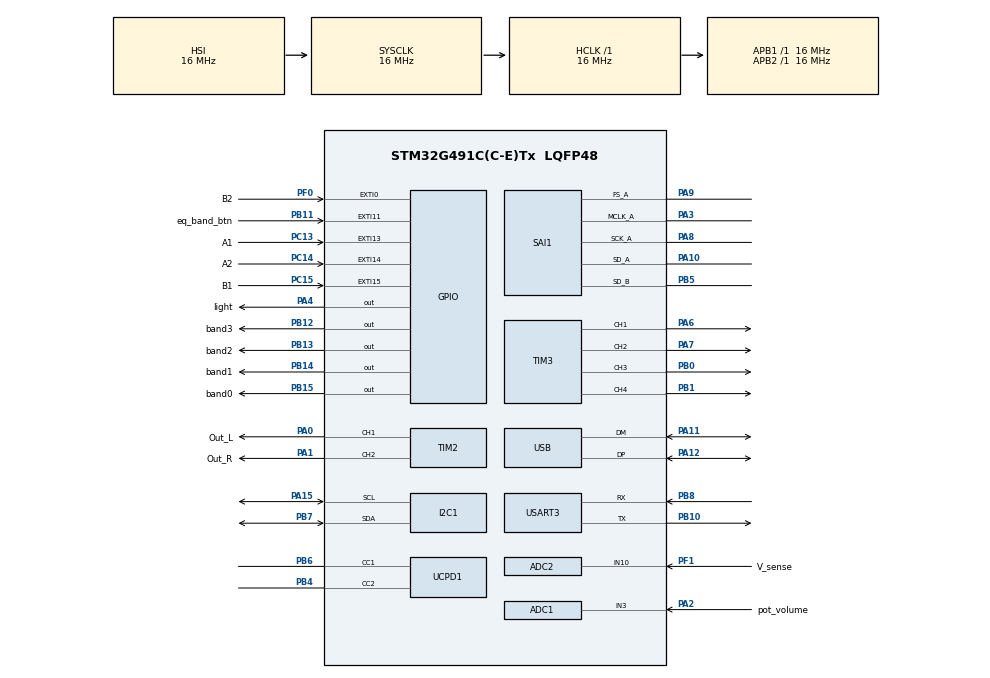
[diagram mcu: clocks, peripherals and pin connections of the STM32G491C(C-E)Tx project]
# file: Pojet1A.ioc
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ADC1.Channel-0\#ChannelRegularConversion=ADC_CHANNEL_3
ADC1.NbrOfConversionFlag=1
ADC1.OffsetNumber-0\#ChannelRegularConversion=ADC_OFFSET_NONE
ADC1.Rank-0\#ChannelRegularConversion=1
ADC1.SamplingTime-0\#ChannelRegularConversion=ADC_SAMPLETIME_2CYCLES_5
ADC1.master=1
ADC2.Channel-0\#ChannelRegularConversion=ADC_CHANNEL_10
ADC2.NbrOfConversionFlag=1
ADC2.OffsetNumber-0\#ChannelRegularConversion=ADC_OFFSET_NONE
ADC2.Rank-0\#ChannelRegularConversion=1
ADC2.SamplingTime-0\#ChannelRegularConversion=ADC_SAMPLETIME_2CYCLES_5
Dma.Request0=UCPD1_RX
Dma.Request1=UCPD1_TX
Dma.Request2=SAI1_A
Dma.Request3=SAI1_B
Dma.SAI1_A.2.Direction=DMA_MEMORY_TO_PERIPH
Dma.SAI1_A.2.EventEnable=DISABLE
Dma.SAI1_A.2.Instance=DMA1_Channel3
Dma.SAI1_A.2.MemDataAlignment=DMA_MDATAALIGN_WORD
Dma.SAI1_A.2.MemInc=DMA_MINC_ENABLE
Dma.SAI1_A.2.Mode=DMA_NORMAL
Dma.SAI1_A.2.PeriphDataAlignment=DMA_PDATAALIGN_WORD
Dma.SAI1_A.2.PeriphInc=DMA_PINC_DISABLE
Dma.SAI1_A.2.Polarity=HAL_DMAMUX_REQ_GEN_RISING
Dma.SAI1_A.2.Priority=DMA_PRIORITY_LOW
Dma.SAI1_A.2.RequestNumber=1
Dma.SAI1_A.2.SignalID=NONE
Dma.SAI1_A.2.SyncEnable=DISABLE
Dma.SAI1_A.2.SyncPolarity=HAL_DMAMUX_SYNC_NO_EVENT
Dma.SAI1_A.2.SyncRequestNumber=1
Dma.SAI1_A.2.SyncSignalID=NONE
Dma.SAI1_B.3.Direction=DMA_PERIPH_TO_MEMORY
Dma.SAI1_B.3.EventEnable=DISABLE
Dma.SAI1_B.3.Instance=DMA2_Channel1
Dma.SAI1_B.3.MemDataAlignment=DMA_MDATAALIGN_WORD
Dma.SAI1_B.3.MemInc=DMA_MINC_ENABLE
Dma.SAI1_B.3.Mode=DMA_NORMAL
Dma.SAI1_B.3.PeriphDataAlignment=DMA_PDATAALIGN_WORD
Dma.SAI1_B.3.PeriphInc=DMA_PINC_DISABLE
Dma.SAI1_B.3.Polarity=HAL_DMAMUX_REQ_GEN_RISING
Dma.SAI1_B.3.Priority=DMA_PRIORITY_LOW
Dma.SAI1_B.3.RequestNumber=1
Dma.SAI1_B.3.SignalID=NONE
Dma.SAI1_B.3.SyncEnable=DISABLE
Dma.SAI1_B.3.SyncPolarity=HAL_DMAMUX_SYNC_NO_EVENT
Dma.SAI1_B.3.SyncRequestNumber=1
Dma.SAI1_B.3.SyncSignalID=NONE
Dma.UCPD1_RX.0.Direction=DMA_PERIPH_TO_MEMORY
Dma.UCPD1_RX.0.EventEnable=DISABLE
Dma.UCPD1_RX.0.Instance=DMA1_Channel1
Dma.UCPD1_RX.0.MemDataAlignment=DMA_MDATAALIGN_BYTE
Dma.UCPD1_RX.0.MemInc=DMA_MINC_ENABLE
Dma.UCPD1_RX.0.Mode=DMA_NORMAL
Dma.UCPD1_RX.0.PeriphDataAlignment=DMA_PDATAALIGN_BYTE
Dma.UCPD1_RX.0.PeriphInc=DMA_PINC_DISABLE
Dma.UCPD1_RX.0.Polarity=HAL_DMAMUX_REQ_GEN_RISING
Dma.UCPD1_RX.0.Priority=DMA_PRIORITY_LOW
Dma.UCPD1_RX.0.RequestNumber=1
Dma.UCPD1_RX.0.SignalID=NONE
Dma.UCPD1_RX.0.SyncEnable=DISABLE
Dma.UCPD1_RX.0.SyncPolarity=HAL_DMAMUX_SYNC_NO_EVENT
Dma.UCPD1_RX.0.SyncRequestNumber=1
Dma.UCPD1_RX.0.SyncSignalID=NONE
Dma.UCPD1_TX.1.Direction=DMA_MEMORY_TO_PERIPH
Dma.UCPD1_TX.1.EventEnable=DISABLE
Dma.UCPD1_TX.1.Instance=DMA1_Channel2
Dma.UCPD1_TX.1.MemDataAlignment=DMA_MDATAALIGN_BYTE
Dma.UCPD1_TX.1.MemInc=DMA_MINC_ENABLE
Dma.UCPD1_TX.1.Mode=DMA_NORMAL
Dma.UCPD1_TX.1.PeriphDataAlignment=DMA_PDATAALIGN_BYTE
Dma.UCPD1_TX.1.PeriphInc=DMA_PINC_DISABLE
Dma.UCPD1_TX.1.Polarity=HAL_DMAMUX_REQ_GEN_RISING
Dma.UCPD1_TX.1.Priority=DMA_PRIORITY_LOW
Dma.UCPD1_TX.1.RequestNumber=1
Dma.UCPD1_TX.1.SignalID=NONE
Dma.UCPD1_TX.1.SyncEnable=DISABLE
Dma.UCPD1_TX.1.SyncPolarity=HAL_DMAMUX_SYNC_NO_EVENT
Dma.UCPD1_TX.1.SyncRequestNumber=1
Dma.UCPD1_TX.1.SyncSignalID=NONE
Mcu.Family=STM32G4
Mcu.Name=STM32G491C(C-E)Tx
Mcu.Package=LQFP48
NVIC.DMA1_Channel1_IRQn=true\:0\:0\:false\:false\:true\:false\:true\:true
NVIC.DMA1_Channel2_IRQn=true\:0\:0\:false\:false\:true\:false\:true\:true
NVIC.DMA1_Channel3_IRQn=true\:0\:0\:false\:false\:true\:false\:true\:true
NVIC.DMA2_Channel1_IRQn=true\:0\:0\:false\:false\:true\:false\:true\:true
NVIC.PriorityGroup=NVIC_PRIORITYGROUP_4
NVIC.UCPD1_IRQn=true\:0\:0\:false\:false\:true\:true\:false\:true
NVIC.USB_LP_IRQn=true\:0\:0\:false\:false\:true\:false\:true\:true
PA0.GPIO_Label=Out_L
PA0.Signal=S_TIM2_CH1
PA1.GPIO_Label=Out_R
PA1.Signal=S_TIM2_CH2
PA10.Mode=SAI_A_MasterWithClock
PA10.Signal=SAI1_SD_A
PA11.Mode=Device
PA11.Signal=USB_DM
PA12.Mode=Device
PA12.Signal=USB_DP
PA13.Mode=Trace_Asynchronous_SW
PA13.Signal=SYS_JTMS-SWDIO
PA14.Mode=Trace_Asynchronous_SW
PA14.Signal=SYS_JTCK-SWCLK
PA15.Mode=I2C
PA15.Signal=I2C1_SCL
PA2.GPIO_Label=pot_volume
PA2.Mode=IN3-Single-Ended
PA2.Signal=ADC1_IN3
PA3.Mode=SAI_A_MasterWithClock
PA3.Signal=SAI1_MCLK_A
PA4.GPIO_Label=light
PA4.Signal=GPIO_Output
PA6.Signal=S_TIM3_CH1
PA7.Signal=S_TIM3_CH2
PA8.Mode=SAI_A_MasterWithClock
PA8.Signal=SAI1_SCK_A
PA9.Mode=SAI_A_MasterWithClock
PA9.Signal=SAI1_FS_A
PB0.Signal=S_TIM3_CH3
PB1.Signal=S_TIM3_CH4
PB10.Mode=Asynchronous
PB10.Signal=USART3_TX
PB11.GPIO_Label=eq_band_btn
PB11.GPIO_ModeDefaultEXTI=GPIO_MODE_IT_RISING
PB11.Signal=GPXTI11
PB12.GPIO_Label=band3
PB12.Signal=GPIO_Output
PB13.GPIO_Label=band2
PB13.Signal=GPIO_Output
PB14.GPIO_Label=band1
PB14.Signal=GPIO_Output
PB15.GPIO_Label=band0
PB15.Signal=GPIO_Output
PB3.Mode=Trace_Asynchronous_SW
PB3.Signal=SYS_JTDO-SWO
PB4.Mode=Sink_AllSignals
PB4.Signal=UCPD1_CC2
PB5.Mode=SAI_B_SyncSlave
PB5.Signal=SAI1_SD_B
PB6.Mode=Sink_AllSignals
PB6.Signal=UCPD1_CC1
PB7.Mode=I2C
PB7.Signal=I2C1_SDA
PB8-BOOT0.Mode=Asynchronous
PB8-BOOT0.Signal=USART3_RX
PC13.GPIO_Label=A1
PC13.GPIO_ModeDefaultEXTI=GPIO_MODE_IT_RISING_FALLING
PC13.Signal=GPXTI13
PC14-OSC32_IN.GPIO_Label=A2
PC14-OSC32_IN.GPIO_ModeDefaultEXTI=GPIO_MODE_IT_RISING_FALLING
PC14-OSC32_IN.Signal=GPXTI14
PC15-OSC32_OUT.GPIO_Label=B1
PC15-OSC32_OUT.GPIO_ModeDefaultEXTI=GPIO_MODE_IT_RISING_FALLING
PC15-OSC32_OUT.Signal=GPXTI15
PF0-OSC_IN.GPIO_Label=B2
PF0-OSC_IN.GPIO_ModeDefaultEXTI=GPIO_MODE_IT_RISING_FALLING
PF0-OSC_IN.Signal=GPXTI0
PF1-OSC_OUT.GPIO_Label=V_sense
PF1-OSC_OUT.Mode=IN10-Single-Ended
PF1-OSC_OUT.Signal=ADC2_IN10
ProjectManager.HeapSize=0x200
ProjectManager.StackSize=0x400
ProjectManager.TargetToolchain=STM32CubeIDE
RCC.AHBFreq_Value=16000000
RCC.APB1Freq_Value=16000000
RCC.APB1TimFreq_Value=16000000
RCC.APB2Freq_Value=16000000
RCC.APB2TimFreq_Value=16000000
RCC.CortexFreq_Value=16000000
RCC.EXTERNAL_CLOCK_VALUE=12288000
RCC.HCLKFreq_Value=16000000
RCC.HSE_VALUE=8000000
RCC.HSI48_VALUE=48000000
RCC.HSI_VALUE=16000000
RCC.LSE_VALUE=32768
RCC.SYSCLKFreq_VALUE=16000000
RCC.USBFreq_Value=48000000
RCC.VCOOutputFreq_Value=128000000
SAI1.AudioFrequency-SAI_A_MasterWithClock=SAI_AUDIO_FREQUENCY_48K
SAI1.InitProtocol-SAI_A_MasterWithClock=Enable
SAI1.Instance-SAI_A_MasterWithClock=SAI$Index_Block_A
SAI1.Instance-SAI_B_SyncSlave=SAI$Index_Block_B
SAI1.MckOutput-SAI_A_MasterWithClock=SAI_MCK_OUTPUT_ENABLE
SAI1.VirtualMode-SAI_A_MasterWithClock=VM_MASTER
SAI1.VirtualMode-SAI_B_SyncSlave=VM_SLAVE
SAI1.VirtualProtocol-SAI_A_BASIC=VM_BASIC_PROTOCOL
SH.S_TIM2_CH1.0=TIM2_CH1,PWM Generation1 CH1
SH.S_TIM2_CH2.0=TIM2_CH2,PWM Generation2 CH2
SH.S_TIM3_CH1.0=TIM3_CH1,PWM Generation1 CH1
SH.S_TIM3_CH2.0=TIM3_CH2,PWM Generation2 CH2
SH.S_TIM3_CH3.0=TIM3_CH3,PWM Generation3 CH3
SH.S_TIM3_CH4.0=TIM3_CH4,PWM Generation4 CH4
TIM2.Channel-PWM\ Generation1\ CH1=TIM_CHANNEL_1
TIM2.Channel-PWM\ Generation2\ CH2=TIM_CHANNEL_2
TIM3.Channel-PWM\ Generation1\ CH1=TIM_CHANNEL_1
TIM3.Channel-PWM\ Generation2\ CH2=TIM_CHANNEL_2
TIM3.Channel-PWM\ Generation3\ CH3=TIM_CHANNEL_3
TIM3.Channel-PWM\ Generation4\ CH4=TIM_CHANNEL_4
USART3.VirtualMode-Asynchronous=VM_ASYNC
USBPD.USBPD_PORT0_PDO_SNK_FIXED_SET_OP_CURRENT_0=1500
USBPD.USBPD_PORT0_PDO_SNK_FIXED_SET_VOLTAGE_0=9000
USB_DEVICE.CLASS_NAME_FS=CDC
USB_DEVICE.VirtualMode=Cdc
USB_DEVICE.VirtualModeFS=Cdc_FS
VP_SAI1_VP_$IpInstance_SAIA_SAI_BASIC.Mode=SAI_A_BASIC
VP_SYS_VS_DBSignals.Mode=DisableDeadBatterySignals
VP_USBPD_VS_PD3CFG1.Mode=PD3_Config1
VP_USBPD_VS_USBPD1.Mode=USBPD_P0
VP_USBPD_VS_usbpd_tim1.Mode=TIM1
VP_USB_DEVICE_VS_USB_DEVICE_CDC_FS.Mode=CDC_FS
board=custom

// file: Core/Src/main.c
/* USER CODE BEGIN Header */
/**
 ******************************************************************************
 * @file           : main.c
 * @brief          : Main program body
 ******************************************************************************
 * @attention
 *
 * Copyright (c) 2024 STMicroelectronics.
 * All rights reserved.
 *
 * This software is licensed under terms that can be found in the LICENSE file
 * in the root directory of this software component.
 * If no LICENSE file comes with this software, it is provided AS-IS.
 *
 ******************************************************************************
 */
/* USER CODE END Header */
#include "main.h"
#include "adc.h"
#include "dma.h"
#include "i2c.h"
#include "sai.h"
#include "tim.h"
#include "ucpd.h"
#include "usart.h"
#include "usbpd.h"
#include "usb_device.h"
#include "gpio.h"

/* USER CODE BEGIN Includes */
#include "filter.h"
#include "sgtl5000.h"
#include "secboard.h"
/* USER CODE END Includes */

/* USER CODE BEGIN PM */
#define SAI_TX_BUFFER_LENGTH (48*2)
#define SAI_RX_BUFFER_LENGTH (48*2)
/* USER CODE END PM */

/* USER CODE BEGIN PV */
static int16_t sai_tx_buffer[SAI_TX_BUFFER_LENGTH];
static int16_t sai_rx_buffer[SAI_RX_BUFFER_LENGTH];
int Encoder_AB[4] = {0,0,0,0};
int band_change = 0;
/* USER CODE END PV */

void SystemClock_Config(void);

/* USER CODE BEGIN 0 */

static int tx_cplt_counter = 0;
void HAL_SAI_TxCpltCallback(SAI_HandleTypeDef *hsai)
{
	if (SAI1_Block_A == hsai->Instance)
	{
		tx_cplt_counter++;
		// TODO Temp juste pour voir
		//HAL_SAI_DMAStop(&hsai_BlockA2);
	}
}

static int tx_half_cplt_counter = 0;
void HAL_SAI_TxHalfCpltCallback(SAI_HandleTypeDef *hsai)
{
	if (SAI1_Block_A == hsai->Instance)
	{
		tx_half_cplt_counter++;
	}
}

static int rx_cplt_flag = 0;
static int rx_cplt_counter = 0;
void HAL_SAI_RxCpltCallback(SAI_HandleTypeDef *hsai)
{
	if (SAI1_Block_B == hsai->Instance)
	{
		rx_cplt_flag = 1;
		rx_cplt_counter++;
	}
}

static int rx_half_cplt_flag = 0;
static int rx_half_cplt_counter = 0;
void HAL_SAI_RxHalfCpltCallback(SAI_HandleTypeDef *hsai)
{
	if (SAI1_Block_B == hsai->Instance)
	{
		rx_half_cplt_flag = 1;
		rx_half_cplt_counter++;
	}
}

void HAL_GPIO_EXTI_Callback(uint16_t GPIO_Pin)
{
	if (GPIO_Pin == A1_Pin)
	{
		Encoder_AB[0] = 1-Encoder_AB[0];
	}
	if (GPIO_Pin == B1_Pin)
	{
		Encoder_AB[1] = 1-Encoder_AB[1];
	}
	if (GPIO_Pin == A2_Pin)
	{
		Encoder_AB[2] = 1-Encoder_AB[2];
	}
	if (GPIO_Pin == B2_Pin)
	{
		Encoder_AB[3] = 1-Encoder_AB[3];
	}
	if (GPIO_Pin == eq_band_btn_Pin)
	{
		band_change = 1;
	}
}

/* USER CODE END 0 */

int main(void)
{

	/* MCU Configuration--------------------------------------------------------*/

	/* Reset of all peripherals, Initializes the Flash interface and the Systick. */
	HAL_Init();

	/* Configure the system clock */
	SystemClock_Config();

	/* Initialize all configured peripherals */
	MX_GPIO_Init();
	MX_DMA_Init();
	MX_ADC1_Init();
	MX_SAI1_Init();
	MX_UCPD1_Init();
	MX_ADC2_Init();
	MX_I2C1_Init();
	MX_TIM2_Init();
	MX_TIM3_Init();
	MX_USART3_UART_Init();
	MX_USB_Device_Init();
	/* USER CODE BEGIN 2 */
	uint16_t value_pot;

	param_sgtl_t param_son;

	int freq;
	float gain;

	uint16_t sgtl_address = 0x14;
	uint16_t data;

	h_sgtl5000_t h_sgtl5000;
	h_sgtl5000.hi2c = &hi2c1;
	h_sgtl5000.dev_address = sgtl_address;

	sgtl5000_init(&h_sgtl5000);

	HAL_StatusTypeDef ret;
	ret = sgtl5000_i2c_read_register(&h_sgtl5000, SGTL5000_CHIP_ID, &data);

	if (ret != HAL_OK)
	{
		//printf("HAL_I2C_Mem_Read error\r\n");
		Error_Handler();
	}

	init_valeur_default(&param_son);
	HAL_ADC_Start_DMA(&hadc1,(uint32_t *)&value_pot,100);
	HAL_TIM_PWM_Init(&htim3);

	/* USER CODE END 2 */

	/* USBPD initialisation ---------------------------------*/
	MX_USBPD_Init();

	/* Infinite loop */
	while (1)
	{
		USBPD_DPM_Run();

		/* USER CODE BEGIN 3 */
		modif_freq(&param_son,Encoder_AB[0],Encoder_AB[1]);
		modif_gain(&param_son,Encoder_AB[2],Encoder_AB[3]);

		volume(&param_son,&h_sgtl5000,value_pot);

		eq_band(&param_son,&freq,&gain);

		colormotion(&htim3,freq,gain);

		if(band_change == 1){
			ChangementEtat(&param_son,&h_sgtl5000);
			band_change = 0;
			(param_son.bandmod==3)?(param_son.bandmod=0):(param_son.bandmod++);
		}

		set_filter(&h_sgtl5000,freq,gain);
	}
	/* USER CODE END 3 */
}

void SystemClock_Config(void)
{
	RCC_OscInitTypeDef RCC_OscInitStruct = {0};
	RCC_ClkInitTypeDef RCC_ClkInitStruct = {0};

	/** Configure the main internal regulator output voltage
	 */
	HAL_PWREx_ControlVoltageScaling(PWR_REGULATOR_VOLTAGE_SCALE1);

	/** Initializes the RCC Oscillators according to the specified parameters
	 * in the RCC_OscInitTypeDef structure.
	 */
	RCC_OscInitStruct.OscillatorType = RCC_OSCILLATORTYPE_HSI|RCC_OSCILLATORTYPE_HSI48;
	RCC_OscInitStruct.HSIState = RCC_HSI_ON;
	RCC_OscInitStruct.HSICalibrationValue = RCC_HSICALIBRATION_DEFAULT;
	RCC_OscInitStruct.HSI48State = RCC_HSI48_ON;
	RCC_OscInitStruct.PLL.PLLState = RCC_PLL_NONE;
	if (HAL_RCC_OscConfig(&RCC_OscInitStruct) != HAL_OK)
	{
		Error_Handler();
	}

	/** Initializes the CPU, AHB and APB buses clocks
	 */
	RCC_ClkInitStruct.ClockType = RCC_CLOCKTYPE_HCLK|RCC_CLOCKTYPE_SYSCLK
			|RCC_CLOCKTYPE_PCLK1|RCC_CLOCKTYPE_PCLK2;
	RCC_ClkInitStruct.SYSCLKSource = RCC_SYSCLKSOURCE_HSI;
	RCC_ClkInitStruct.AHBCLKDivider = RCC_SYSCLK_DIV1;
	RCC_ClkInitStruct.APB1CLKDivider = RCC_HCLK_DIV1;
	RCC_ClkInitStruct.APB2CLKDivider = RCC_HCLK_DIV1;

	if (HAL_RCC_ClockConfig(&RCC_ClkInitStruct, FLASH_LATENCY_0) != HAL_OK)
	{
		Error_Handler();
	}
}

void Error_Handler(void)
{
	/* USER CODE BEGIN Error_Handler_Debug */
	/* User can add his own implementation to report the HAL error return state */
	__disable_irq();
	while (1)
	{
		HAL_GPIO_WritePin(band0_GPIO_Port,band0_Pin,0);
		HAL_Delay(500);
		HAL_GPIO_WritePin(band1_GPIO_Port,band1_Pin,0);
		HAL_Delay(500);
		HAL_GPIO_WritePin(band2_GPIO_Port,band2_Pin,0);
		HAL_Delay(500);
		HAL_GPIO_WritePin(band3_GPIO_Port,band3_Pin,0);
		HAL_Delay(500);
		HAL_GPIO_WritePin(band0_GPIO_Port,band0_Pin,1);
		HAL_GPIO_WritePin(band1_GPIO_Port,band1_Pin,1);
		HAL_GPIO_WritePin(band2_GPIO_Port,band2_Pin,1);
		HAL_GPIO_WritePin(band3_GPIO_Port,band3_Pin,1);
		HAL_Delay(500);
	}
	/* USER CODE END Error_Handler_Debug */
}
